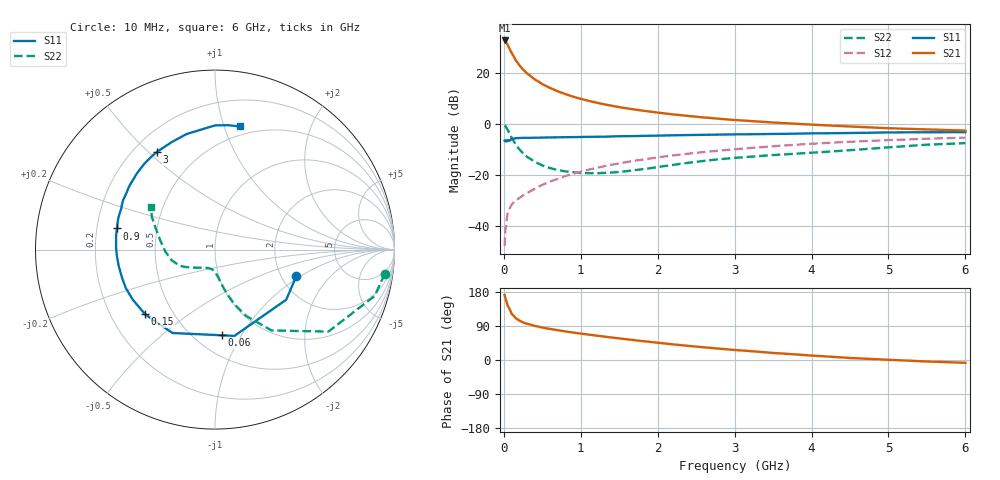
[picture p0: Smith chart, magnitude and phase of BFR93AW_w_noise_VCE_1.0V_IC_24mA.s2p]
! (c) 2017  Infineon Technologies AG, Munich
! Infineon Technologies  Discrete & RF Semiconductors
! BFR93AW
! VCE =  1.0 V,  IC =  24 mA
! Common Emitter S-Parameters:  Jan 2017
# GHz  S  MA  R  50
!  f  S11  S21  S12  S22
! GHz  MAG  ANG  MAG  ANG  MAG  ANG  MAG  ANG
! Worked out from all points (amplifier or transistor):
!   77 points, 10 MHz to 6 GHz, reference 50 ohm
!   highest |S21| = 33.0 dB at 10 MHz (marker M1)
!   |S21| within 3 dB of that: start of sweep to 70.34 MHz
!   unconditionally stable (mu >= 1): 494.1 MHz to 2.512 GHz
!   at 130 MHz: K = 0.53, MSG = 28.6 dB, |S12| = -30.7 dB
!   at 2.2 GHz: K = 1.02, MAG = 7.2 dB, |S12| = -12.3 dB
!   at 6 GHz: K = 0.95, MSG = 1.4 dB, |S12| = -5.3 dB
!   lowest NFmin = 1.63 dB at 450 MHz
!   S11 on the Smith chart (normalised r, x): 10 MHz: 2.40, -0.93; 60 MHz: 0.67, -0.83; 150 MHz: 0.35, -0.35; 900 MHz: 0.29, +0.10; 3 GHz: 0.29, +0.53; 6 GHz: 0.42, +1.13
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0.01  0.4766 -18.2  44.58 171.5  0.004 78.1  0.9556 -8.1
0.02  0.4852 -35.1  43.68 163.5  0.0082 81.5  0.9261 -16.2
0.05  0.4927 -77.3  36.47 142.8  0.0178 64.2  0.7795 -35.9
0.06  0.4791 -85.3  34 139.8  0.0194 61.8  0.7282 -38.7
0.1  0.5216 -117.0  25.51 122.2  0.026 55.3  0.549 -55.1
0.15  0.5307 -137.2  18.73 111.2  0.0314 53.2  0.4079 -64.9
0.2  0.5366 -148.9  14.61 104.2  0.0352 54.8  0.3232 -70.4
0.25  0.5412 -156.8  11.93 99.2  0.0399 55.9  0.2686 -73.8
0.3  0.5411 -162.6  10.05 95.7  0.044 57.7  0.2295 -76.6
0.4  0.5445 -170.6  7.671 90.0  0.0537 61.2  0.1831 -80.4
0.5  0.5478 -176.5  6.174 85.6  0.0643 63.4  0.155 -83.5
0.6  0.5514 178.8  5.188 81.9  0.0746 64.7  0.1376 -86.7
0.7  0.5532 174.8  4.463 78.7  0.0843 66.0  0.1257 -89.7
0.9  0.5585 167.8  3.494 72.5  0.1063 66.3  0.1141 -96.1
1.1  0.5664 162.1  2.901 67.1  0.1276 66.2  0.1094 -103.6
1.5  0.581 151.8  2.176 57.0  0.1702 64.0  0.1153 -119.3
2.1  0.6021 138.3  1.63 43.4  0.2336 58.6  0.1514 -138.4
3  0.6332 120.9  1.215 26.4  0.3228 49.4  0.2186 -156.6
3.1  0.6344 119.1  1.187 25.0  0.3319 48.2  0.224 -158.7
4.1  0.6642 102.3  0.968 10.5  0.4215 37.0  0.2819 179.9
5.1  0.6925 88.7  0.827 -0.3  0.4944 25.7  0.3603 158.4
6  0.7 78.6  0.752 -7.4  0.546 15.9  0.4262 146.4
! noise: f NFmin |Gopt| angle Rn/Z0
0.45  1.63  0.16  169  0.16
0.9  1.9  0.24  180  0.16
1.9  2.91  0.49  -137  0.25
2.4  3.56  0.55  -125  0.49
